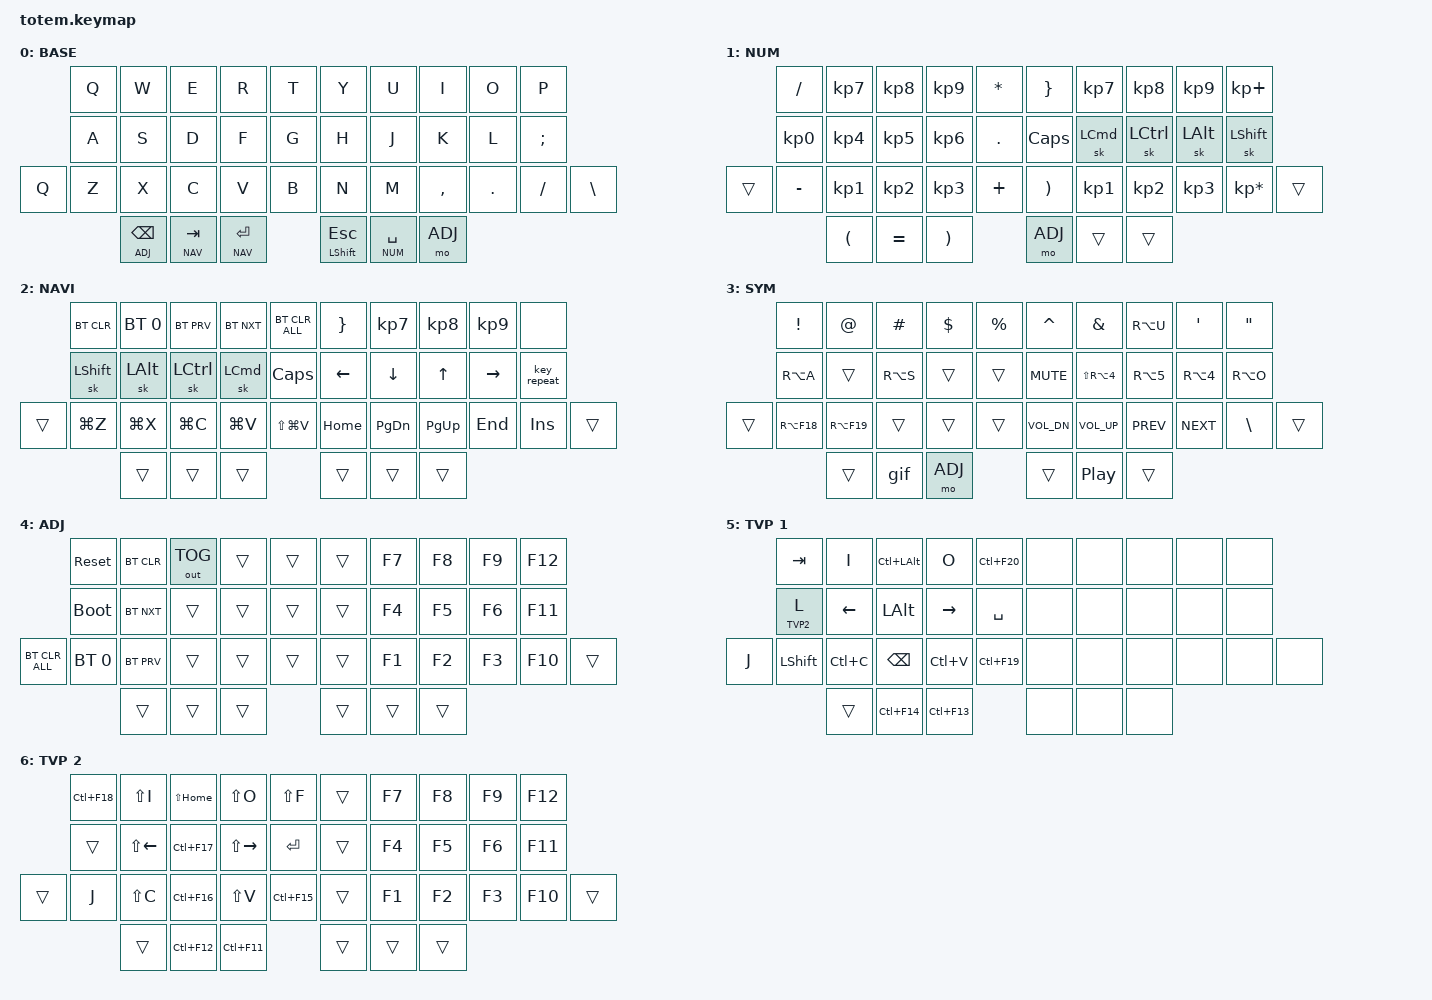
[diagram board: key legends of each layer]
//
//                                                        ▀▀▀▀▀     ▀▀▀▀▀          ▀▀█▀▀
//                                                        ▄▀▀▀▄  ▄  ▄▀▀▀▄  ▄  ▄▀▀▀▄  █  ▄▀▀▀▄
//                                                        █   █  █  █   █  █  █   █  █  █   █
//                                                         ▀▀▀   █   ▀▀▀   █   ▀▀▀   ▀   ▀▀▀
//                                                               █      ▄▄▄█▄▄▄    █   █  
//                                                               ▀      █  █  █     █▄█
//                                                             ▀▀▀▀▀    █  █  █      ▀
//                                                                      ▀  ▀  ▀
//
// ▄▄▄▄▄▄▄▄▄▄▄▄▄▄▄▄▄▄▄▄▄▄▄▄▄▄▄▄▄▄▄▄▄▄▄▄▄▄▄▄▄▄▄▄▄▄▄▄▄▄▄▄▄▄▄▄▄▄▄▄▄▄▄▄▄▄▄▄▄▄▄▄▄▄▄▄▄▄▄▄▄▄▄▄▄▄▄▄▄▄▄▄▄▄▄▄▄▄▄▄▄▄▄▄▄▄▄▄▄▄▄▄▄▄▄▄▄▄▄▄▄▄▄▄▄▄▄▄▄▄▄▄▄▄▄▄▄▄▄▄▄▄▄▄▄▄▄▄▄
       

#include <behaviors.dtsi>
#include <dt-bindings/zmk/keys.h>
#include <dt-bindings/zmk/bt.h>
#include <dt-bindings/zmk/outputs.h>

#define BASE 0
#define NUM  1
#define NAV  2
#define SYM  3
#define ADJ  4
#define TVP1 5
#define TVP2 6

&mt {
  quick-tap-ms = <100>;
  global-quick-tap;
  flavor = "tap-preferred";
  tapping-term-ms = <170>;
};

&lt {
  quick-tap-ms = <200>;
};

/ {
     combos {
            compatible = "zmk,combos";
            combo_esc {
                timeout-ms = <50>;
                key-positions = <0 1>;
                bindings = <&kp ESC>;
            };
            combo_tvp {
                timeout-ms = <100>;
                key-positions = <11 12 13>;
                bindings = <&tog TVP1>;
            };
    };

    macros {
        gif: gif {
            label = "giphy";
            compatible = "zmk,behavior-macro";
            #binding-cells = <0>;
            bindings
                = <&macro_press &kp LSHFT>
                , <&macro_tap &kp N2>
                , <&macro_release &kp LSHFT>
                , <&macro_tap &kp G &kp I &kp F>
                ;
        };
    };

        keymap {
                compatible = "zmk,keymap";
// ▄▄▄▄▄▄▄▄▄▄▄▄▄▄▄▄▄▄▄▄▄▄▄▄▄▄▄▄▄▄▄▄▄▄▄▄▄▄▄▄▄▄▄▄▄▄▄▄▄▄▄▄▄▄▄▄▄▄▄▄▄▄▄▄▄▄▄▄▄▄▄▄▄▄▄▄▄▄▄▄▄▄▄▄▄▄▄▄▄▄▄▄▄▄▄▄▄▄▄▄▄▄▄▄▄▄▄▄▄▄▄▄▄▄▄▄▄▄▄▄▄▄▄▄▄▄▄▄▄▄▄▄▄▄▄▄▄▄▄▄▄▄▄▄▄▄▄▄▄

                base_layer {
// ┏━━━━━━━━━━━━━━━━━━━━━━━━━━━━━━━━━━━━━━━┓
label= "BASE"                              ;
// ┗━━━━━━━━━━━━━━━━━━━━━━━━━━━━━━━━━━━━━━━┛
//             ┏━━━━━━━━━━━┳━━━━━━━━━━━┳━━━━━━━━━━━┳━━━━━━━━━━━┳━━━━━━━━━━━┓   ┏━━━━━━━━━━━┳━━━━━━━━━━━┳━━━━━━━━━━━┳━━━━━━━━━━━┳━━━━━━━━━━━┓
//             ┃     Q     ┃     W     ┃     E     ┃     R     ┃     T     ┃   ┃     Y     ┃     U     ┃     I     ┃     O     ┃     P     ┃
//             ┣━━━━━━━━━━━╋━━━━━━━━━━━╋━━━━━━━━━━━╋━━━━━━━━━━━╋━━━━━━━━━━━┫   ┣━━━━━━━━━━━╋━━━━━━━━━━━╋━━━━━━━━━━━╋━━━━━━━━━━━╋━━━━━━━━━━━┫
//             ┃     A     ┃     S     ┃     D     ┃     F     ┃     G     ┃   ┃     H     ┃     J     ┃     K     ┃     L     ┃     ;     ┃
// ┏━━━━━━━━━━━╋━━━━━━━━━━━╋━━━━━━━━━━━╋━━━━━━━━━━━╋━━━━━━━━━━━╋━━━━━━━━━━━┫   ┣━━━━━━━━━━━╋━━━━━━━━━━━╋━━━━━━━━━━━╋━━━━━━━━━━━╋━━━━━━━━━━━╋━━━━━━━━━━━┓
// ┃     Q     ┃     Z     ┃     X     ┃     C     ┃     V     ┃     B     ┃   ┃     N     ┃     M     ┃     ,     ┃     .     ┃     /     ┃     \     ┃
// ┗━━━━━━━━━━━┻━━━━━━━━━━━┻━━━━━━━━━━━╋━━━━━━━━━━━╋━━━━━━━━━━━╋━━━━━━━━━━━┫   ┣━━━━━━━━━━━╋━━━━━━━━━━━╋━━━━━━━━━━━╋━━━━━━━━━━━┻━━━━━━━━━━━┻━━━━━━━━━━━┛
//                                     ┃    DEL    ┃    TAB    ┃    RET    ┃   ┃    ESC    ┃    SPC    ┃   BSPC    ┃
//                                     ┗━━━━━━━━━━━┻━━━━━━━━━━━┻━━━━━━━━━━━┛   ┗━━━━━━━━━━━┻━━━━━━━━━━━┻━━━━━━━━━━━┛
 bindings = <
// ╷           ╷           ╷           ╷           ╷           ╷           ╷   ╷           ╷           ╷           ╷           ╷           ╷           ╷

                &kp Q       &kp W       &kp E       &kp R       &kp T           &kp Y       &kp U       &kp I       &kp O       &kp P
                &kp A       &kp S       &kp D       &kp F       &kp G           &kp H       &kp J       &kp K       &kp L       &kp SEMI
    &kp Q       &kp Z       &kp X       &kp C       &kp V       &kp B           &kp N       &kp M       &kp COMMA   &kp DOT     &kp FSLH    &kp BSLH
                                &lt ADJ BSPC   &lt NAV TAB  &lt NAV RET         &mt LSHFT ESC  &lt NUM SPC  &mo ADJ
                        >;
                };

// ▄▄▄▄▄▄▄▄▄▄▄▄▄▄▄▄▄▄▄▄▄▄▄▄▄▄▄▄▄▄▄▄▄▄▄▄▄▄▄▄▄▄▄▄▄▄▄▄▄▄▄▄▄▄▄▄▄▄▄▄▄▄▄▄▄▄▄▄▄▄▄▄▄▄▄▄▄▄▄▄▄▄▄▄▄▄▄▄▄▄▄▄▄▄▄▄▄▄▄▄▄▄▄▄▄▄▄▄▄▄▄▄▄▄▄▄▄▄▄▄▄▄▄▄▄▄▄▄▄▄▄▄▄▄▄▄▄▄▄▄▄▄▄▄▄▄▄▄▄


                num_layer {
// ┏━━━━━━━━━━━━━━━━━━━━━━━━━━━━━━━━━━━━━━━┓
label= "NUM"                              ;
// ┗━━━━━━━━━━━━━━━━━━━━━━━━━━━━━━━━━━━━━━━┛
//             ┏━━━━━━━━━━━┳━━━━━━━━━━━┳━━━━━━━━━━━┳━━━━━━━━━━━┳━━━━━━━━━━━┓   ┏.━━━━━━━━━━┳━━━━━━━━━━━┳━━━━━━━━━━━┳━━━━━━━━━━━┳━━━━━━━━━━━┓
//             ┃     /     ┃     7     ┃     8     ┃     9     ┃     *     ┃   ┃     }     ┃     7     ┃     8     ┃     9     ┃     +     ┃
//             ┣━━━━━━━━━━━╋━━━━━━━━━━━╋━━━━━━━━━━━╋━━━━━━━━━━━╋━━━━━━━━━━━┫   ┣━━━━━━━━━━━╋━━━━━━━━━━━╋━━━━━━━━━━━╋━━━━━━━━━━━╋━━━━━━━━━━━┫
//             ┃     0     ┃     4     ┃     5     ┃     6     ┃     .     ┃   ┃   CAPS    ┃   LCMD    ┃   LCTRL   ┃    LALT   ┃   LSHFT   ┃
// ┏━━━━━━━━━━━╋━━━━━━━━━━━╋━━━━━━━━━━━╋━━━━━━━━━━━╋━━━━━━━━━━━╋━━━━━━━━━━━┫   ┣━━━━━━━━━━━╋━━━━━━━━━━━╋━━━━━━━━━━━╋━━━━━━━━━━━╋━━━━━━━━━━━╋━━━━━━━━━━━┓
// ┃           ┃     -     ┃     1     ┃     2     ┃     3     ┃     +     ┃   ┃     )     ┃     1     ┃     2     ┃     3     ┃     *     ┃           ┃
// ┗━━━━━━━━━━━┻━━━━━━━━━━━┻━━━━━━━━━━━╋━━━━━━━━━━━╋━━━━━━━━━━━╋━━━━━━━━━━━┫   ┣━━━━━━━━━━━╋━━━━━━━━━━━╋━━━━━━━━━━━╋━━━━━━━━━━━┻━━━━━━━━━━━┻━━━━━━━━━━━┛
//                                     ┃     (     ┃     =     ┃     )     ┃   ┃    DEL    ┃     0     ┃           ┃
//                                     ┗━━━━━━━━━━━┻━━━━━━━━━━━┻━━━━━━━━━━━┛   ┗━━━━━━━━━━━┻━━━━━━━━━━━┻━━━━━━━━━━━┛
 bindings = <
// ╷           ╷           ╷           ╷           ╷           ╷           ╷   ╷           ╷           ╷           ╷           ╷           ╷           ╷

                &kp SLASH   &kp KP_N7   &kp KP_N8   &kp KP_N9   &kp STAR        &kp RBRC    &kp KP_N7   &kp KP_N8   &kp KP_N9   &kp KP_PLUS
                &kp KP_N0   &kp KP_N4   &kp KP_N5   &kp KP_N6   &kp DOT         &kp CAPS    &sk LCMD    &sk LCTRL   &sk LALT    &sk LSHFT
    &trans      &kp MINUS   &kp KP_N1   &kp KP_N2   &kp KP_N3   &kp PLUS        &kp RPAR    &kp KP_N1   &kp KP_N2   &kp KP_N3   &kp KP_MULTIPLY &trans      
                                        &kp LPAR    &kp EQUAL   &kp RPAR        &mo ADJ     &trans      &trans      
                        >;
                };

// ▄▄▄▄▄▄▄▄▄▄▄▄▄▄▄▄▄▄▄▄▄▄▄▄▄▄▄▄▄▄▄▄▄▄▄▄▄▄▄▄▄▄▄▄▄▄▄▄▄▄▄▄▄▄▄▄▄▄▄▄▄▄▄▄▄▄▄▄▄▄▄▄▄▄▄▄▄▄▄▄▄▄▄▄▄▄▄▄▄▄▄▄▄▄▄▄▄▄▄▄▄▄▄▄▄▄▄▄▄▄▄▄▄▄▄▄▄▄▄▄▄▄▄▄▄▄▄▄▄▄▄▄▄▄▄▄▄▄▄▄▄▄▄▄▄▄▄▄▄


                nav_layer {
// ┏━━━━━━━━━━━━━━━━━━━━━━━━━━━━━━━━━━━━━━━┓
label= "NAVI"                              ;
// ┗━━━━━━━━━━━━━━━━━━━━━━━━━━━━━━━━━━━━━━━┛
//             ┏━━━━━━━━━━━┳━━━━━━━━━━━┳━━━━━━━━━━━┳━━━━━━━━━━━┳━━━━━━━━━━━┓   ┏━━━━━━━━━━━┳━━━━━━━━━━━┳━━━━━━━━━━━┳━━━━━━━━━━━┳━━━━━━━━━━━┓
//             ┃  BT_CLR   ┃  BT_SEL 0 ┃   BT_PRV  ┃   BT_NXT  ┃ BT_CLR_ALL┃   ┃     }     ┃     7     ┃     8     ┃     9     ┃     +     ┃
//             ┣━━━━━━━━━━━╋━━━━━━━━━━━╋━━━━━━━━━━━╋━━━━━━━━━━━╋━━━━━━━━━━━┫   ┣━━━━━━━━━━━╋━━━━━━━━━━━╋━━━━━━━━━━━╋━━━━━━━━━━━╋━━━━━━━━━━━┫
//             ┃   LSHFT   ┃   LALT    ┃   LCTRL   ┃    LCMD   ┃    CAPS   ┃   ┃    LEFT   ┃    DOWN   ┃     UP    ┃   RIGHT   ┃ KEY_REPEAT┃
// ┏━━━━━━━━━━━╋━━━━━━━━━━━╋━━━━━━━━━━━╋━━━━━━━━━━━╋━━━━━━━━━━━╋━━━━━━━━━━━┫   ┣━━━━━━━━━━━╋━━━━━━━━━━━╋━━━━━━━━━━━╋━━━━━━━━━━━╋━━━━━━━━━━━╋━━━━━━━━━━━┓
// ┃           ┃   UNDO    ┃    CUT    ┃    COPY   ┃   PASTE   ┃    REDO   ┃   ┃    HOME   ┃   PG_DN   ┃   PG_UP   ┃    END    ┃    INS    ┃           ┃
// ┗━━━━━━━━━━━┻━━━━━━━━━━━┻━━━━━━━━━━━╋━━━━━━━━━━━╋━━━━━━━━━━━╋━━━━━━━━━━━┫   ┣━━━━━━━━━━━╋━━━━━━━━━━━╋━━━━━━━━━━━╋━━━━━━━━━━━┻━━━━━━━━━━━┻━━━━━━━━━━━┛
//                                     ┃           ┃           ┃           ┃   ┃           ┃           ┃           ┃
//                                     ┗━━━━━━━━━━━┻━━━━━━━━━━━┻━━━━━━━━━━━┛   ┗━━━━━━━━━━━┻━━━━━━━━━━━┻━━━━━━━━━━━┛
 bindings = <
// ╷           ╷           ╷            ╷           ╷             ╷           ╷       ╷           ╷           ╷           ╷           ╷           ╷           ╷

                &bt BT_CLR  &bt BT_SEL 0  &bt BT_PRV   &bt BT_NXT  &bt BT_CLR_ALL    &kp RBRC    &kp KP_N7   &kp KP_N8   &kp KP_N9   &none
                &sk LSHFT   &sk LALT      &sk LCTRL    &sk LCMD    &kp CAPS          &kp LEFT    &kp DOWN    &kp UP      &kp RIGHT   &key_repeat
    &trans      &kp LG(Z)   &kp LG(X)     &kp LG(C)    &kp LG(V)  &kp LS(LG(V))      &kp HOME    &kp PG_DN   &kp PG_UP   &kp END     &kp INS     &trans      
                                          &trans      &trans      &trans             &trans      &trans      &trans      
                        >;
                };

// ▄▄▄▄▄▄▄▄▄▄▄▄▄▄▄▄▄▄▄▄▄▄▄▄▄▄▄▄▄▄▄▄▄▄▄▄▄▄▄▄▄▄▄▄▄▄▄▄▄▄▄▄▄▄▄▄▄▄▄▄▄▄▄▄▄▄▄▄▄▄▄▄▄▄▄▄▄▄▄▄▄▄▄▄▄▄▄▄▄▄▄▄▄▄▄▄▄▄▄▄▄▄▄▄▄▄▄▄▄▄▄▄▄▄▄▄▄▄▄▄▄▄▄▄▄▄▄▄▄▄▄▄▄▄▄▄▄▄▄▄▄▄▄▄▄▄▄▄▄


                sim_layer {
// ┏━━━━━━━━━━━━━━━━━━━━━━━━━━━━━━━━━━━━━━━┓
label= "SYM"                               ;
// ┗━━━━━━━━━━━━━━━━━━━━━━━━━━━━━━━━━━━━━━━┛
//             ┏━━━━━━━━━━━┳━━━━━━━━━━━┳━━━━━━━━━━━┳━━━━━━━━━━━┳━━━━━━━━━━━┓   ┏━━━━━━━━━━━┳━━━━━━━━━━━┳━━━━━━━━━━━┳━━━━━━━━━━━┳━━━━━━━━━━━┓
//             ┃     !     ┃     @     ┃     #     ┃     $     ┃     %     ┃   ┃     ˆ     ┃     &     ┃     Ü     ┃     '     ┃     "     ┃
//             ┣━━━━━━━━━━━╋━━━━━━━━━━━╋━━━━━━━━━━━╋━━━━━━━━━━━╋━━━━━━━━━━━┫   ┣━━━━━━━━━━━╋━━━━━━━━━━━╋━━━━━━━━━━━╋━━━━━━━━━━━╋━━━━━━━━━━━┫
//             ┃     Ä     ┃           ┃    SZ     ┃           ┃           ┃   ┃   MUTE    ┃   YEN     ┃   EURO    ┃  POUND    ┃     Ö     ┃
// ┏━━━━━━━━━━━╋━━━━━━━━━━━╋━━━━━━━━━━━╋━━━━━━━━━━━╋━━━━━━━━━━━╋━━━━━━━━━━━┫   ┣━━━━━━━━━━━╋━━━━━━━━━━━╋━━━━━━━━━━━╋━━━━━━━━━━━╋━━━━━━━━━━━╋━━━━━━━━━━━┓
// ┃           ┃  EMAIL1   ┃  EMAIL2   ┃           ┃           ┃           ┃   ┃   VOL-    ┃   VOL+    ┃   LAST    ┃   NEXT    ┃     \     ┃           ┃
// ┗━━━━━━━━━━━┻━━━━━━━━━━━┻━━━━━━━━━━━╋━━━━━━━━━━━╋━━━━━━━━━━━╋━━━━━━━━━━━┫   ┣━━━━━━━━━━━╋━━━━━━━━━━━╋━━━━━━━━━━━╋━━━━━━━━━━━┻━━━━━━━━━━━┻━━━━━━━━━━━┛
//                                     ┃           ┃    GIF    ┃    ADJ    ┃   ┃           ┃           ┃           ┃
//                                     ┗━━━━━━━━━━━┻━━━━━━━━━━━┻━━━━━━━━━━━┛   ┗━━━━━━━━━━━┻━━━━━━━━━━━┻━━━━━━━━━━━┛
 bindings = <
// ╷           ╷           ╷           ╷           ╷           ╷           ╷   ╷           ╷           ╷           ╷           ╷           ╷           ╷

                &kp EXCL    &kp AT      &kp HASH    &kp DLLR    &kp PRCNT       &kp CARET   &kp AMPS    &kp RA(U)   &kp SQT     &kp DQT       
                &kp RA(A)   &trans      &kp RA(S)   &trans      &trans          &kp C_MUTE  &kp LS(RA(N4)) &kp RA(N5) &kp RA(N4)   &kp RA(O) 
    &trans      &kp RA(F18) &kp RA(F19) &trans      &trans      &trans          &kp C_VOL_DN &kp C_VOL_UP &kp C_PREV &kp C_NEXT  &kp BSLH   &trans         
                                        &trans      &gif        &mo ADJ         &trans      &kp C_PP    &trans      
                        >;
                };

// ▄▄▄▄▄▄▄▄▄▄▄▄▄▄▄▄▄▄▄▄▄▄▄▄▄▄▄▄▄▄▄▄▄▄▄▄▄▄▄▄▄▄▄▄▄▄▄▄▄▄▄▄▄▄▄▄▄▄▄▄▄▄▄▄▄▄▄▄▄▄▄▄▄▄▄▄▄▄▄▄▄▄▄▄▄▄▄▄▄▄▄▄▄▄▄▄▄▄▄▄▄▄▄▄▄▄▄▄▄▄▄▄▄▄▄▄▄▄▄▄▄▄▄▄▄▄▄▄▄▄▄▄▄▄▄▄▄▄▄▄▄▄▄▄▄▄▄▄▄


                adjust_layer {
// ┏━━━━━━━━━━━━━━━━━━━━━━━━━━━━━━━━━━━━━━━┓
label= "ADJ"                               ;
// ┗━━━━━━━━━━━━━━━━━━━━━━━━━━━━━━━━━━━━━━━┛
//             ┏━━━━━━━━━━━┳━━━━━━━━━━━┳━━━━━━━━━━━┳━━━━━━━━━━━┳━━━━━━━━━━━┓   ┏━━━━━━━━━━━┳━━━━━━━━━━━┳━━━━━━━━━━━┳━━━━━━━━━━━┳━━━━━━━━━━━┓
//             ┃   RESET   ┃ BT CLEAR  ┃  OUT TOG  ┃           ┃           ┃   ┃           ┃    F7     ┃    F8     ┃    F9     ┃    F12    ┃
//             ┣━━━━━━━━━━━╋━━━━━━━━━━━╋━━━━━━━━━━━╋━━━━━━━━━━━╋━━━━━━━━━━━┫   ┣━━━━━━━━━━━╋━━━━━━━━━━━╋━━━━━━━━━━━╋━━━━━━━━━━━╋━━━━━━━━━━━┫
//             ┃ BOOTLOAD  ┃ BT NEXT   ┃           ┃           ┃           ┃   ┃           ┃    F4     ┃    F5     ┃    F6     ┃    F11    ┃
// ┏━━━━━━━━━━━╋━━━━━━━━━━━╋━━━━━━━━━━━╋━━━━━━━━━━━╋━━━━━━━━━━━╋━━━━━━━━━━━┫   ┣━━━━━━━━━━━╋━━━━━━━━━━━╋━━━━━━━━━━━╋━━━━━━━━━━━╋━━━━━━━━━━━╋━━━━━━━━━━━┓
// ┃ BT_CLR_ALL┃  BT_SEL 0 ┃ BT PREV   ┃           ┃           ┃           ┃   ┃           ┃    F1     ┃    F2     ┃    F3     ┃    F10    ┃           ┃
// ┗━━━━━━━━━━━┻━━━━━━━━━━━┻━━━━━━━━━━━╋━━━━━━━━━━━╋━━━━━━━━━━━╋━━━━━━━━━━━┫   ┣━━━━━━━━━━━╋━━━━━━━━━━━╋━━━━━━━━━━━╋━━━━━━━━━━━┻━━━━━━━━━━━┻━━━━━━━━━━━┛
//                                     ┃           ┃           ┃           ┃   ┃           ┃           ┃           ┃
//                                     ┗━━━━━━━━━━━┻━━━━━━━━━━━┻━━━━━━━━━━━┛   ┗━━━━━━━━━━━┻━━━━━━━━━━━┻━━━━━━━━━━━┛
 bindings = <
// ╷           ╷           ╷             ╷           ╷           ╷           ╷   ╷           ╷           ╷           ╷           ╷           ╷           ╷

                &sys_reset    &bt BT_CLR  &out OUT_TOG &trans      &trans          &trans      &kp F7      &kp F8      &kp F9      &kp F12
                &bootloader   &bt BT_NXT  &trans       &trans      &trans          &trans      &kp F4      &kp F5      &kp F6      &kp F11  
 &bt BT_CLR_ALL &bt BT_SEL 0  &bt BT_PRV  &trans       &trans      &trans          &trans      &kp F1      &kp F2      &kp F3      &kp F10     &trans         
                                        &trans      &trans      &trans          &trans      &trans      &trans      
                        >;
                };

// ▄▄▄▄▄▄▄▄▄▄▄▄▄▄▄▄▄▄▄▄▄▄▄▄▄▄▄▄▄▄▄▄▄▄▄▄▄▄▄▄▄▄▄▄▄▄▄▄▄▄▄▄▄▄▄▄▄▄▄▄▄▄▄▄▄▄▄▄▄▄▄▄▄▄▄▄▄▄▄▄▄▄▄▄▄▄▄▄▄▄▄▄▄▄▄▄▄▄▄▄▄▄▄▄▄▄▄▄▄▄▄▄▄▄▄▄▄▄▄▄▄▄▄▄▄▄▄▄▄▄▄▄▄▄▄▄▄▄▄▄▄▄▄▄▄▄▄▄▄


                tvp1_layer {
// ┏━━━━━━━━━━━━━━━━━━━━━━━━━━━━━━━━━━━━━━━┓
label= "TVP 1"                             ;
// ┗━━━━━━━━━━━━━━━━━━━━━━━━━━━━━━━━━━━━━━━┛
//             ┏━━━━━━━━━━━┳━━━━━━━━━━━┳━━━━━━━━━━━┳━━━━━━━━━━━┳━━━━━━━━━━━┓   ┏━━━━━━━━━━━┳━━━━━━━━━━━┳━━━━━━━━━━━┳━━━━━━━━━━━┳━━━━━━━━━━━┓
//             ┃ NEXT FILE ┃ MARK IN   ┃ ROTATE    ┃ MARK OUT  ┃ SHOW SNAP ┃   ┃           ┃           ┃           ┃           ┃           ┃
//             ┣━━━━━━━━━━━╋━━━━━━━━━━━╋━━━━━━━━━━━╋━━━━━━━━━━━╋━━━━━━━━━━━┫   ┣━━━━━━━━━━━╋━━━━━━━━━━━╋━━━━━━━━━━━╋━━━━━━━━━━━╋━━━━━━━━━━━┫
//             ┃ TVP II    ┃ LEFT      ┃ PAN       ┃ RIGHT     ┃ PLAY/FLIP ┃   ┃           ┃           ┃           ┃           ┃           ┃
// ┏━━━━━━━━━━━╋━━━━━━━━━━━╋━━━━━━━━━━━╋━━━━━━━━━━━╋━━━━━━━━━━━╋━━━━━━━━━━━┫   ┣━━━━━━━━━━━╋━━━━━━━━━━━╋━━━━━━━━━━━╋━━━━━━━━━━━╋━━━━━━━━━━━╋━━━━━━━━━━━┓
// ┃ FULLSCR   ┃ SHIFT     ┃ COPY      ┃ DELETE    ┃ PASTE     ┃ IMG MARK  ┃   ┃           ┃           ┃           ┃           ┃           ┃           ┃
// ┗━━━━━━━━━━━┻━━━━━━━━━━━┻━━━━━━━━━━━╋━━━━━━━━━━━╋━━━━━━━━━━━╋━━━━━━━━━━━┫   ┣━━━━━━━━━━━╋━━━━━━━━━━━╋━━━━━━━━━━━╋━━━━━━━━━━━┻━━━━━━━━━━━┻━━━━━━━━━━━┛
//                                     ┃           ┃ UNDO/SAVE ┃  SEL/MOV  ┃   ┃           ┃           ┃           ┃
//                                     ┗━━━━━━━━━━━┻━━━━━━━━━━━┻━━━━━━━━━━━┛   ┗━━━━━━━━━━━┻━━━━━━━━━━━┻━━━━━━━━━━━┛
 bindings = <
// ╷           ╷           ╷           ╷           ╷           ╷           ╷   ╷           ╷           ╷           ╷           ╷           ╷           ╷

                &kp TAB     &kp I       &kp LC(LALT) &kp O      &kp LC(F20)     &none       &none       &none       &none       &none
                &lt TVP2 L  &kp LEFT    &kp LALT    &kp RIGHT   &kp SPACE       &none       &none       &none       &none       &none
    &kp J       &kp LSHFT   &kp LC(C)   &kp BSPC    &kp LC(V)   &kp LC(F19)     &none       &none       &none       &none       &none       &none        
                                        &trans      &kp LC(F14) &kp LC(F13)     &none       &none       &none    
                        >;
                };

// ▄▄▄▄▄▄▄▄▄▄▄▄▄▄▄▄▄▄▄▄▄▄▄▄▄▄▄▄▄▄▄▄▄▄▄▄▄▄▄▄▄▄▄▄▄▄▄▄▄▄▄▄▄▄▄▄▄▄▄▄▄▄▄▄▄▄▄▄▄▄▄▄▄▄▄▄▄▄▄▄▄▄▄▄▄▄▄▄▄▄▄▄▄▄▄▄▄▄▄▄▄▄▄▄▄▄▄▄▄▄▄▄▄▄▄▄▄▄▄▄▄▄▄▄▄▄▄▄▄▄▄▄▄▄▄▄▄▄▄▄▄▄▄▄▄▄▄▄▄


                tvp2_layer {
// ┏━━━━━━━━━━━━━━━━━━━━━━━━━━━━━━━━━━━━━━━┓
label= "TVP 2"                             ;
// ┗━━━━━━━━━━━━━━━━━━━━━━━━━━━━━━━━━━━━━━━┛
//             ┏━━━━━━━━━━━┳━━━━━━━━━━━┳━━━━━━━━━━━┳━━━━━━━━━━━┳━━━━━━━━━━━┓   ┏━━━━━━━━━━━┳━━━━━━━━━━━┳━━━━━━━━━━━┳━━━━━━━━━━━┳━━━━━━━━━━━┓
//             ┃ SOLO      ┃ TOGGLE IN ┃ RESET ROT ┃ TOGGLE OUT┃ TAKE SNAP ┃   ┃           ┃           ┃           ┃           ┃           ┃
//             ┣━━━━━━━━━━━╋━━━━━━━━━━━╋━━━━━━━━━━━╋━━━━━━━━━━━╋━━━━━━━━━━━┫   ┣━━━━━━━━━━━╋━━━━━━━━━━━╋━━━━━━━━━━━╋━━━━━━━━━━━╋━━━━━━━━━━━┫
//             ┃ ---       ┃ LAST KEY  ┃ NEW KEY   ┃ NEXT KEY  ┃ ENTER     ┃   ┃           ┃           ┃           ┃           ┃           ┃
// ┏━━━━━━━━━━━╋━━━━━━━━━━━╋━━━━━━━━━━━╋━━━━━━━━━━━╋━━━━━━━━━━━╋━━━━━━━━━━━┫   ┣━━━━━━━━━━━╋━━━━━━━━━━━╋━━━━━━━━━━━╋━━━━━━━━━━━╋━━━━━━━━━━━╋━━━━━━━━━━━┓
// ┃           ┃ FULLSCR   ┃ CPY2BRUSH ┃ DEL HEAD  ┃ PSTinPLACE┃ BOOK MARK ┃   ┃           ┃           ┃           ┃           ┃           ┃           ┃
// ┗━━━━━━━━━━━┻━━━━━━━━━━━┻━━━━━━━━━━━╋━━━━━━━━━━━╋━━━━━━━━━━━╋━━━━━━━━━━━┫   ┣━━━━━━━━━━━╋━━━━━━━━━━━╋━━━━━━━━━━━╋━━━━━━━━━━━┻━━━━━━━━━━━┻━━━━━━━━━━━┛
//                                     ┃           ┃ REDO/SAV1 ┃TRANS/WARP ┃   ┃           ┃           ┃           ┃
//                                     ┗━━━━━━━━━━━┻━━━━━━━━━━━┻━━━━━━━━━━━┛   ┗━━━━━━━━━━━┻━━━━━━━━━━━┻━━━━━━━━━━━┛
 bindings = <
// ╷           ╷           ╷           ╷           ╷           ╷           ╷   ╷           ╷           ╷           ╷           ╷           ╷           ╷

                &kp LC(F18) &kp LS(I)  &kp LS(HOME) &kp LS(O)   &kp LS(F)       &trans      &kp F7      &kp F8      &kp F9      &kp F12
                &trans      &kp LS(LEFT) &kp LC(F17) &kp LS(RIGHT) &kp RET      &trans      &kp F4      &kp F5      &kp F6      &kp F11  
    &trans      &kp J       &kp LS(C)   &kp LC(F16) &kp LS(V)   &kp LC(F15)     &trans      &kp F1      &kp F2      &kp F3      &kp F10     &trans         
                                        &trans      &kp LC(F12) &kp LC(F11)     &trans      &trans      &trans      
                        >;
                };
        };
};
